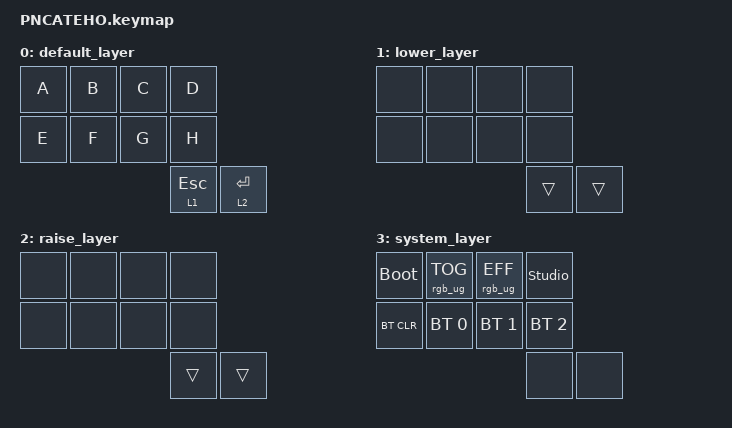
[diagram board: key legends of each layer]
#include <behaviors.dtsi>
#include <dt-bindings/zmk/bt.h>
#include <dt-bindings/zmk/rgb.h>
#include <dt-bindings/zmk/keys.h>

/ {
    conditional_layers {
        compatible = "zmk,conditional-layers";

        sys_layer {
            if-layers = <1 2>;
            then-layer = <3>;
        };
    };
};

/ {
    keymap {
        compatible = "zmk,keymap";

        default_layer {
            bindings = <
&kp A  &kp B  &kp C  &kp D
&kp E  &kp F  &kp G  &kp H
                     &lt 1 ESC &lt 2 ENTER
            >;
        };

        lower_layer {
            bindings = <
&none  &none  &none  &none
&none  &none  &none  &none
                     &trans  &trans
            >;
        };

        raise_layer {
            bindings = <
&none  &none  &none  &none
&none  &none  &none  &none
                     &trans  &trans
            >;
        };

        system_layer {
            bindings = <
&bootloader  &rgb_ug RGB_TOG  &rgb_ug RGB_EFF  &studio_unlock
&bt BT_CLR   &bt BT_SEL 0     &bt BT_SEL 1     &bt BT_SEL 2
                                               &none         &none
            >;
        };
    };
};
